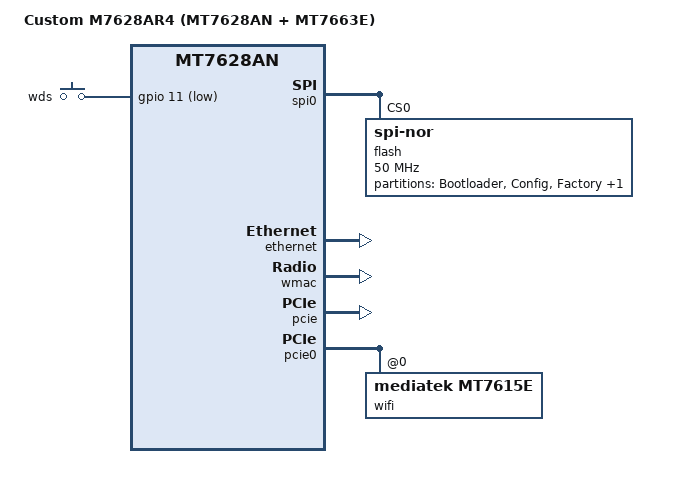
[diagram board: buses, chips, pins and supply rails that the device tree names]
// mt7628an-m7628ar4.dts

#include "mt7628an.dtsi"
#include <dt-bindings/gpio/gpio.h>
#include <dt-bindings/input/input.h>

/ {
	compatible = "custom,m7628ar4", "mediatek,mt7628an-soc";
	model = "Custom M7628AR4 (MT7628AN + MT7663E)";

	aliases { label-mac-device = &ethernet; };
	chosen {bootargs = "console=ttyS1,57600 rootfstype=squashfs,jffs2";};

	keys {
		compatible = "gpio-keys";

		wds {
			label = "wds";
			linux,code = <KEY_RFKILL>;
			linux,input-type = <EV_SW>;
			gpios = <&gpio 11 GPIO_ACTIVE_LOW>;
		};
	};
};

&spi0 {
	status = "okay";
	flash@0 {
		compatible = "jedec,spi-nor";
		reg = <0>;
		spi-max-frequency = <50000000>;

		partitions {
			compatible = "fixed-partitions";
			#address-cells = <1>;
			#size-cells = <1>;

			partition@0 { label = "Bootloader"; reg = <0x000000 0x030000>; read-only; };
			partition@30000 { label = "Config";     reg = <0x030000 0x010000>; read-only; };

			factory: partition@40000 {
				label = "Factory";
				reg = <0x040000 0x010000>;
				read-only;

				/* NVMEM provider for EEPROM + MAC cells */
				compatible = "nvmem-cells";
				#address-cells = <1>;
				#size-cells = <1>;

				eeprom_7663: eeprom@8000 { reg = <0x8000 0x1000>; };   /* MT7663 EEPROM blob */
				macaddr_factory_8004: macaddr@8004 { reg = <0x8004 0x6>; }; /* 5 GHz MAC */
			};

			firmware: partition@50000 { label = "firmware"; reg = <0x050000 0xFB0000>; };
		};
	};
};

/* Internal FE MAC */
&ethernet { status = "okay"; mtd-mac-address = <&factory 0x28>; };

/* 2.4 GHz wmac (OK already) */
&wmac { status = "okay"; mediatek,mtd-eeprom = <&factory 0x0>; };

/* PCIe root + MT7663E 5 GHz */
&pcie { status = "okay"; };

&pcie0 {
	status = "okay";

	wifi@0,0 {
		compatible = "mediatek,mt7615e";
		reg = <0x0000 0 0 0 0>;

		/* calibration blob */
		mediatek,mtd-eeprom = <&factory 0x8000>;

		/* MAC via nvmem (don’t use mtd-mac-address here) */
		nvmem-cells = <&macaddr_factory_8004>;
		nvmem-cell-names = "mac-address";

		/* Often required on 7663 to get sane power tables */
		mediatek,eeprom-merge-otp;

		/* (Optional) keep 5 GHz only here */
		ieee80211-freq-limit = <5000000 6000000>;
	};
};
